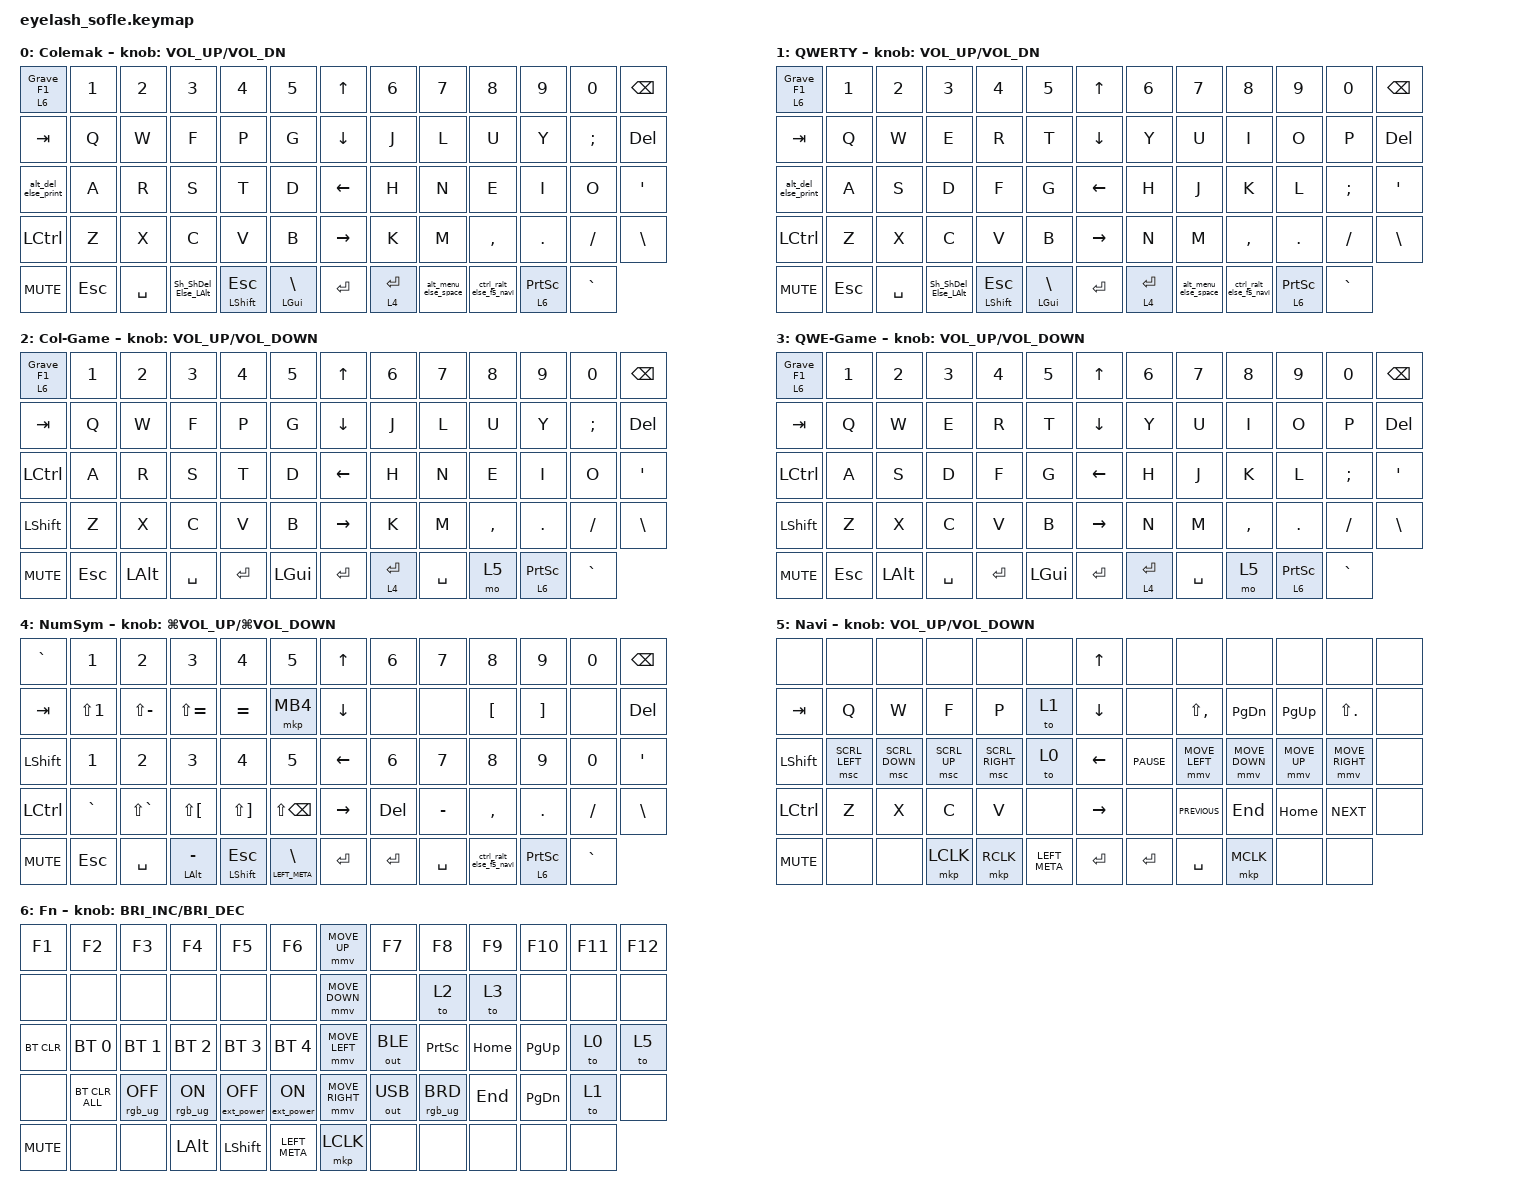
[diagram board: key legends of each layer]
#define ZMK_MOUSE_DEFAULT_MOVE_VAL 1000  // 600
#define ZMK_MOUSE_DEFAULT_SCRL_VAL 100    // 10

#include <input/processors.dtsi>
#include <behaviors.dtsi>
#include <dt-bindings/zmk/bt.h>
#include <dt-bindings/zmk/ext_power.h>
#include <dt-bindings/zmk/keys.h>
#include <dt-bindings/zmk/outputs.h>
#include <dt-bindings/zmk/pointing.h>
#include <dt-bindings/zmk/rgb.h>

&mmv_input_listener { input-processors = <&zip_xy_scaler 2 1>; };

&msc_input_listener { input-processors = <&zip_scroll_scaler 16 1>; };

&msc {
    acceleration-exponent = <1>;      // 0
    time-to-max-speed-ms = <500>;       // 300
    delay-ms = <0>;                   // 0
};

&mmv {
    time-to-max-speed-ms = <400>;
    acceleration-exponent = <1>;
    trigger-period-ms = <16>;
};

/ {
    behaviors {
    };

    rgb_encoder: rgb_encoder {
        compatible = "zmk,behavior-sensor-rotate";
        #sensor-binding-cells = <0>;
        bindings = <&rgb_ug RGB_BRI>, <&rgb_ug RGB_BRD>;
    };

    scroll_encoder: scroll_encoder {
        compatible = "zmk,behavior-sensor-rotate";
        #sensor-binding-cells = <0>;
        bindings = <&msc SCRL_DOWN>, <&msc SCRL_UP>;

        tap-ms = <30>;
    };

    Navi_Paste_Copy: Navi_Paste_Copy {
        compatible = "zmk,behavior-tap-dance";
        label = "NAVI_PASTE_COPY";
        #binding-cells = <0>;
        bindings = <&lt 0 C_AC_PASTE>, <&kp C_AC_COPY>;

        tapping-term-ms = <200>;
    };

    Sh_Del_Else_NPC: Sh_Del_Else_NPC {
        compatible = "zmk,behavior-mod-morph";
        label = "SH_DEL_ELSE_NPC";
        bindings = <&Navi_Paste_Copy>, <&kp DELETE>;

        #binding-cells = <0>;
        mods = <(MOD_LSFT)>;
    };

    Sh_ShDel_Else_LAlt: Sh_ShDel_Else_LAlt {
        compatible = "zmk,behavior-mod-morph";
        label = "SH_SHDEL_ELSE_LALT";
        bindings = <&mt LEFT_ALT MINUS>, <&kp LS(DELETE)>;

        #binding-cells = <0>;
        mods = <(MOD_LSFT)>;
    };

    Tab_F1: Tab_F1 {
        compatible = "zmk,behavior-tap-dance";
        label = "TAB_F1";
        #binding-cells = <0>;
        tapping-term-ms = <225>;
        bindings = <&kp TAB>, <&kp F1>;
    };

    mo_Tab_F1: mo_Tab_F1 {
        compatible = "zmk,behavior-hold-tap";
        label = "MO_TAB_F1";
        bindings = <&mo>, <&Grave_F1>;

        #binding-cells = <2>;
        tapping-term-ms = <225>;
        quick-tap-ms = <200>;
        flavor = "hold-preferred";
        hold-while-undecided;
    };

    mo_Grave_F1: mo_Grave_F1 {
        compatible = "zmk,behavior-hold-tap";
        label = "MO_GRAVE_F1";
        #binding-cells = <2>;
        tapping-term-ms = <225>;
        quick-tap-ms = <200>;
        hold-while-undecided;
        bindings = <&mo>, <&Grave_F1>;
    };

    Grave_F1: Grave_F1 {
        compatible = "zmk,behavior-tap-dance";
        label = "GRAVE_F1";
        #binding-cells = <0>;
        tapping-term-ms = <225>;
        bindings = <&kp GRAVE>, <&kp F1>;
    };

    alt_del_else_print: alt_del_else_print {
        compatible = "zmk,behavior-mod-morph";
        label = "ALT_DEL_ELSE_PRINT";
        bindings = <&kp PRINTSCREEN>, <&kp DELETE>;

        #binding-cells = <0>;
        mods = <(MOD_LALT)>;
    };

    alt_menu_else_space: alt_menu_else_space {
        compatible = "zmk,behavior-mod-morph";
        label = "ALT_MENU_ELSE_SPACE";
        bindings = <&kp SPACE>, <&kp K_MENU>;

        #binding-cells = <0>;
        mods = <(MOD_LALT)>;
    };

    ctrl_ralt_else_f5_navi: ctrl_ralt_else_f5_navi {
        compatible = "zmk,behavior-mod-morph";
        label = "CTRL_RALT_ELSE_F5_NAVI";
        bindings = <&lt 5 F5>, <&kp RIGHT_ALT>;

        #binding-cells = <0>;
        mods = <(MOD_LCTL)>;
    };

    combos { compatible = "zmk,combos"; };

    keymap {
        compatible = "zmk,keymap";

        layer_0 {
            bindings = <
&mo_Grave_F1 6 0     &kp N1      &kp N2     &kp N3               &kp N4             &kp N5                &kp UP_ARROW     &kp N6       &kp N7                &kp N8                   &kp N9             &kp N0     &kp BACKSPACE
&kp TAB              &kp Q       &kp W      &kp F                &kp P              &kp G                 &kp DOWN_ARROW   &kp J        &kp L                 &kp U                    &kp Y              &kp SEMI   &kp DELETE
&alt_del_else_print  &kp A       &kp R      &kp S                &kp T              &kp D                 &kp LEFT_ARROW   &kp H        &kp N                 &kp E                    &kp I              &kp O      &kp SQT
&kp LCTRL            &kp Z       &kp X      &kp C                &kp V              &kp B                 &kp RIGHT_ARROW  &kp K        &kp M                 &kp COMMA                &kp DOT            &kp FSLH   &kp BSLH
&kp K_MUTE           &kp ESCAPE  &kp SPACE  &Sh_ShDel_Else_LAlt  &mt LSHIFT ESCAPE  &mt LGUI BACKSLASH    &kp ENTER        &lt 4 ENTER  &alt_menu_else_space  &ctrl_ralt_else_f5_navi  &lt 6 PRINTSCREEN  &kp GRAVE
            >;

            sensor-bindings = <&inc_dec_kp C_VOLUME_UP C_VOL_DN>;
            display-name = "Colemak";
        };

        layer_1 {
            display-name = "QWERTY";
            bindings = <
&mo_Grave_F1 6 0     &kp N1      &kp N2     &kp N3               &kp N4             &kp N5                &kp UP_ARROW     &kp N6       &kp N7                &kp N8                   &kp N9             &kp N0     &kp BACKSPACE
&kp TAB              &kp Q       &kp W      &kp E                &kp R              &kp T                 &kp DOWN_ARROW   &kp Y        &kp U                 &kp I                    &kp O              &kp P      &kp DELETE
&alt_del_else_print  &kp A       &kp S      &kp D                &kp F              &kp G                 &kp LEFT         &kp H        &kp J                 &kp K                    &kp L              &kp SEMI   &kp SQT
&kp LCTRL            &kp Z       &kp X      &kp C                &kp V              &kp B                 &kp RIGHT_ARROW  &kp N        &kp M                 &kp COMMA                &kp DOT            &kp FSLH   &kp BSLH
&kp K_MUTE           &kp ESCAPE  &kp SPACE  &Sh_ShDel_Else_LAlt  &mt LSHIFT ESCAPE  &mt LGUI BACKSLASH    &kp ENTER        &lt 4 ENTER  &alt_menu_else_space  &ctrl_ralt_else_f5_navi  &lt 6 PRINTSCREEN  &kp GRAVE
            >;

            sensor-bindings = <&inc_dec_kp C_VOLUME_UP C_VOL_DN>;
        };

        layer_2 {
            display-name = "Col-Game";
            bindings = <
&mo_Grave_F1 6 0  &kp N1   &kp N2    &kp N3     &kp N4   &kp N5      &kp UP     &kp N6       &kp N7     &kp N8     &kp N9             &kp N0     &kp BSPC
&kp TAB           &kp Q    &kp W     &kp F      &kp P    &kp G       &kp DOWN   &kp J        &kp L      &kp U      &kp Y              &kp SEMI   &kp DEL
&kp LCTRL         &kp A    &kp R     &kp S      &kp T    &kp D       &kp LEFT   &kp H        &kp N      &kp E      &kp I              &kp O      &kp SQT
&kp LSHFT         &kp Z    &kp X     &kp C      &kp V    &kp B       &kp RIGHT  &kp K        &kp M      &kp COMMA  &kp DOT            &kp FSLH   &kp BSLH
&kp K_MUTE        &kp ESC  &kp LALT  &kp SPACE  &kp RET  &kp LGUI    &kp RET    &lt 4 ENTER  &kp SPACE  &mo 5      &lt 6 PRINTSCREEN  &kp GRAVE
            >;

            sensor-bindings = <&inc_dec_kp C_VOLUME_UP C_VOLUME_DOWN>;
        };

        layer_3 {
            display-name = "QWE-Game";
            bindings = <
&mo_Grave_F1 6 0  &kp N1   &kp N2    &kp N3     &kp N4   &kp N5      &kp UP     &kp N6       &kp N7     &kp N8     &kp N9             &kp N0     &kp BSPC
&kp TAB           &kp Q    &kp W     &kp E      &kp R    &kp T       &kp DOWN   &kp Y        &kp U      &kp I      &kp O              &kp P      &kp DEL
&kp LCTRL         &kp A    &kp S     &kp D      &kp F    &kp G       &kp LEFT   &kp H        &kp J      &kp K      &kp L              &kp SEMI   &kp SQT
&kp LSHFT         &kp Z    &kp X     &kp C      &kp V    &kp B       &kp RIGHT  &kp N        &kp M      &kp COMMA  &kp DOT            &kp FSLH   &kp BSLH
&kp K_MUTE        &kp ESC  &kp LALT  &kp SPACE  &kp RET  &kp LGUI    &kp RET    &lt 4 ENTER  &kp SPACE  &mo 5      &lt 6 PRINTSCREEN  &kp GRAVE
            >;

            sensor-bindings = <&inc_dec_kp C_VOLUME_UP C_VOLUME_DOWN>;
        };

        layer_4 {
            display-name = "NumSym";
            bindings = <
&kp GRAVE       &kp NUMBER_1      &kp NUMBER_2   &kp NUMBER_3          &kp NUMBER_4           &kp NUMBER_5               &kp UP_ARROW    &kp NUMBER_6  &kp NUMBER_7  &kp NUMBER_8             &kp NUMBER_9       &kp NUMBER_0  &kp BACKSPACE
&kp TAB         &kp LS(NUMBER_1)  &kp LS(MINUS)  &kp LS(EQUAL)         &kp EQUAL              &mkp MB4                   &kp DOWN_ARROW  &none         &none         &kp LEFT_BRACKET         &kp RIGHT_BRACKET  &none         &kp DELETE
&kp LEFT_SHIFT  &kp NUMBER_1      &kp NUMBER_2   &kp NUMBER_3          &kp NUMBER_4           &kp NUMBER_5               &kp LEFT        &kp NUMBER_6  &kp NUMBER_7  &kp NUMBER_8             &kp NUMBER_9       &kp NUMBER_0  &kp SQT
&kp LCTRL       &kp GRAVE         &kp LS(GRAVE)  &kp LS(LEFT_BRACKET)  &kp LS(RIGHT_BRACKET)  &kp LS(BACKSPACE)          &kp RIGHT       &kp DELETE    &kp MINUS     &kp COMMA                &kp PERIOD         &kp SLASH     &kp BACKSLASH
&kp K_MUTE      &kp ESCAPE        &kp SPACE      &mt LEFT_ALT MINUS    &mt LEFT_SHIFT ESCAPE  &mt LEFT_META BACKSLASH    &kp ENTER       &kp ENTER     &kp SPACE     &ctrl_ralt_else_f5_navi  &lt 6 PRINTSCREEN  &kp GRAVE
            >;

            sensor-bindings = <&inc_dec_kp LG(C_VOLUME_UP) LG(C_VOLUME_DOWN)>;
        };

        layer_5 {
            display-name = "Navi";
            bindings = <
&none           &none           &none           &none         &none            &none            &kp UP_ARROW  &none        &none           &none           &none         &none            &none
&kp TAB         &kp Q           &kp W           &kp F         &kp P            &to 1            &kp DOWN      &none        &kp LS(COMMA)   &kp PG_DN       &kp PG_UP     &kp LS(PERIOD)   &none
&kp LEFT_SHIFT  &msc SCRL_LEFT  &msc SCRL_DOWN  &msc SCRL_UP  &msc SCRL_RIGHT  &to 0            &kp LEFT      &kp C_PAUSE  &mmv MOVE_LEFT  &mmv MOVE_DOWN  &mmv MOVE_UP  &mmv MOVE_RIGHT  &none
&kp LCTRL       &kp Z           &kp X           &kp C         &kp V            &none            &kp RIGHT     &none        &kp C_PREVIOUS  &kp END         &kp HOME      &kp C_NEXT       &none
&kp K_MUTE      &none           &none           &mkp LCLK     &mkp RCLK        &kp LEFT_META    &kp ENTER     &kp ENTER    &kp SPACE       &mkp MCLK       &none         &none
            >;

            sensor-bindings = <&inc_dec_kp C_VOLUME_UP C_VOLUME_DOWN>;
        };

        layer_6 {
            display-name = "Fn";
            bindings = <
&kp F1      &kp F2          &kp F3           &kp F4          &kp F5             &kp F6              &mmv MOVE_UP     &kp F7        &kp F8           &kp F9    &kp F10    &kp F11  &kp F12
&none       &none           &none            &none           &none              &none               &mmv MOVE_DOWN   &none         &to 2            &to 3     &none      &none    &none
&bt BT_CLR  &bt BT_SEL 0    &bt BT_SEL 1     &bt BT_SEL 2    &bt BT_SEL 3       &bt BT_SEL 4        &mmv MOVE_LEFT   &out OUT_BLE  &kp PRINTSCREEN  &kp HOME  &kp PG_UP  &to 0    &to 5
&none       &bt BT_CLR_ALL  &rgb_ug RGB_OFF  &rgb_ug RGB_ON  &ext_power EP_OFF  &ext_power EP_ON    &mmv MOVE_RIGHT  &out OUT_USB  &rgb_ug RGB_BRD  &kp END   &kp PG_DN  &to 1    &none
&kp K_MUTE  &none           &none            &kp LEFT_ALT    &kp LEFT_SHIFT     &kp LEFT_META       &mkp LCLK        &none         &none            &none     &none      &none
            >;

            sensor-bindings = <&inc_dec_kp C_BRIGHTNESS_INC C_BRIGHTNESS_DEC>;
        };
    };
};
